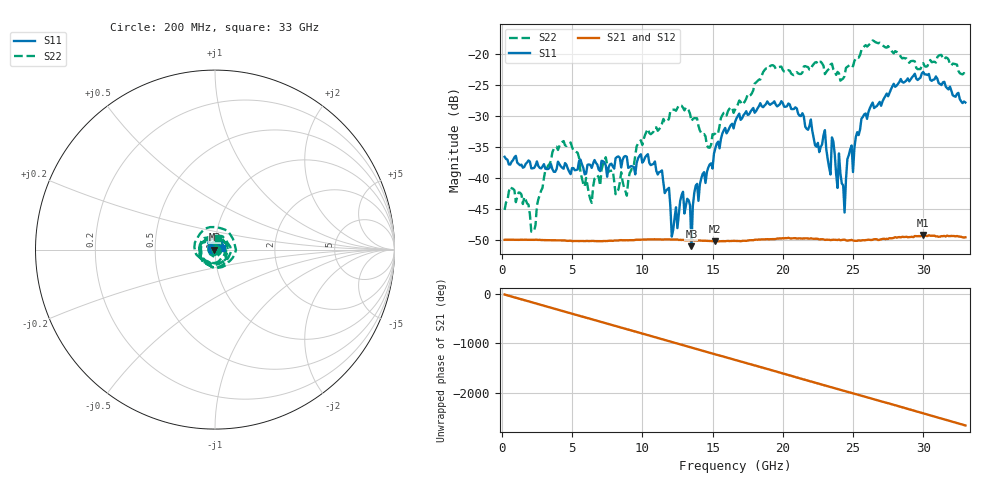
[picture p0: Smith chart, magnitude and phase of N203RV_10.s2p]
# GHZ S RI R 50
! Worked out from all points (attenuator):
!   329 points, 200 MHz to 33 GHz, reference 50 ohm
!   highest |S21| = -49.19 dB at 30 GHz (marker M1); lowest = -50.2 dB at 15.2 GHz (marker M2)
!   lowest |S11| = -51.0 dB at 13.5 GHz (marker M3), VSWR 1.01, Z = 49.7 + j0.0173 ohm
!   |S11| at or under -10 dB: start of sweep to end of sweep
!   |S22| runs from -48.6 to -17.7 dB; largest |S21 - S12| = 7.4e-05
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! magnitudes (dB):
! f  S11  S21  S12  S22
! 200 MHz  -36.5  -50.0  -49.9  -45.1
! 2.3 GHz  -38.3  -50.0  -50.0  -48.5
! 4.4 GHz  -38.5  -50.1  -50.1  -34.0
! 5.7 GHz  -37.7  -50.2  -50.1  -40.0
! 8.9 GHz  -36.5  -50.0  -50.0  -42.8
! 11.2 GHz  -39.0  -49.9  -49.9  -32.1
! 12.1 GHz  -49.4  -49.9  -49.9  -28.9
! 13.3 GHz  -43.6  -50.0  -50.0  -29.0
! 13.5 GHz  -51.0  -50.0  -50.0  -30.8
! 13.8 GHz  -41.2  -50.1  -50.1  -30.3
! 15.2 GHz  -35.2  -50.2  -50.2  -32.8
! 16.6 GHz  -30.9  -50.1  -50.1  -29.0
! 22.1 GHz  -32.3  -49.8  -49.7  -21.8
! 23.5 GHz  -33.4  -50.0  -49.9  -21.5
! 23.9 GHz  -41.6  -50.0  -50.0  -22.8
! 24 GHz  -36.0  -49.9  -49.9  -23.0
! 24.4 GHz  -45.6  -49.9  -49.9  -23.5
! 24.6 GHz  -36.9  -50.1  -50.1  -22.0
! 25.6 GHz  -30.4  -50.1  -50.0  -19.3
! 27.6 GHz  -26.2  -49.7  -49.7  -19.0
! 30 GHz  -22.8  -49.2  -49.3  -21.4
! 33 GHz  -27.8  -49.6  -49.6  -23.7
